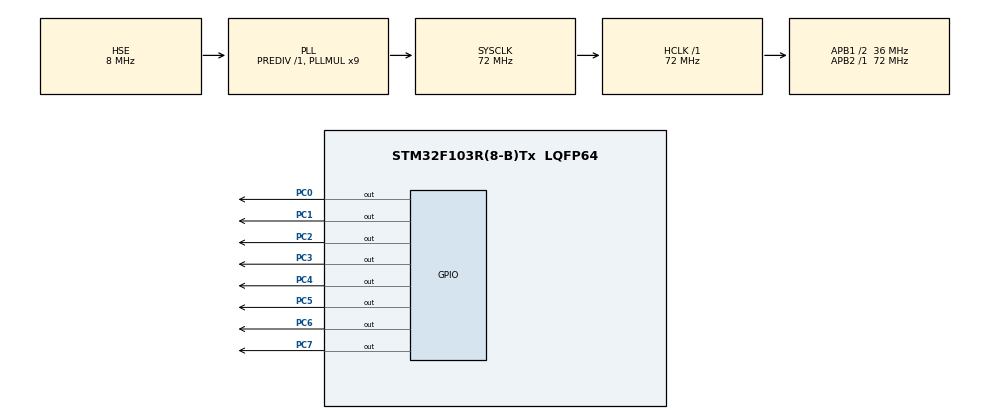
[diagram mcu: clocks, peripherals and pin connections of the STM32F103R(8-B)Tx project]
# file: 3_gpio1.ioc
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Mcu.Family=STM32F1
Mcu.Name=STM32F103R(8-B)Tx
Mcu.Package=LQFP64
NVIC.PriorityGroup=NVIC_PRIORITYGROUP_4
PA13.Mode=Serial_Wire
PA13.Signal=SYS_JTMS-SWDIO
PA14.Mode=Serial_Wire
PA14.Signal=SYS_JTCK-SWCLK
PC0.PinState=GPIO_PIN_SET
PC0.Signal=GPIO_Output
PC1.PinState=GPIO_PIN_SET
PC1.Signal=GPIO_Output
PC14-OSC32_IN.Mode=LSE-External-Oscillator
PC14-OSC32_IN.Signal=RCC_OSC32_IN
PC15-OSC32_OUT.Mode=LSE-External-Oscillator
PC15-OSC32_OUT.Signal=RCC_OSC32_OUT
PC2.PinState=GPIO_PIN_SET
PC2.Signal=GPIO_Output
PC3.PinState=GPIO_PIN_SET
PC3.Signal=GPIO_Output
PC4.PinState=GPIO_PIN_SET
PC4.Signal=GPIO_Output
PC5.PinState=GPIO_PIN_SET
PC5.Signal=GPIO_Output
PC6.PinState=GPIO_PIN_SET
PC6.Signal=GPIO_Output
PC7.PinState=GPIO_PIN_SET
PC7.Signal=GPIO_Output
PD0-OSC_IN.Mode=HSE-External-Oscillator
PD0-OSC_IN.Signal=RCC_OSC_IN
PD1-OSC_OUT.Mode=HSE-External-Oscillator
PD1-OSC_OUT.Signal=RCC_OSC_OUT
ProjectManager.HeapSize=0x200
ProjectManager.StackSize=0x400
ProjectManager.TargetToolchain=MDK-ARM V5
RCC.AHBFreq_Value=72000000
RCC.APB1CLKDivider=RCC_HCLK_DIV2
RCC.APB1Freq_Value=36000000
RCC.APB1TimFreq_Value=72000000
RCC.APB2Freq_Value=72000000
RCC.APB2TimFreq_Value=72000000
RCC.HCLKFreq_Value=72000000
RCC.PLLMUL=RCC_PLL_MUL9
RCC.PLLSourceVirtual=RCC_PLLSOURCE_HSE
RCC.SYSCLKFreq_VALUE=72000000
RCC.SYSCLKSource=RCC_SYSCLKSOURCE_PLLCLK
RCC.USBFreq_Value=72000000
board=custom

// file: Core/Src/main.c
/* USER CODE BEGIN Header */
/**
  ******************************************************************************
  * @file           : main.c
  * @brief          : Main program body
  ******************************************************************************
  * @attention
  *
  * <h2><center>&copy; Copyright (c) 2023 STMicroelectronics.
  * All rights reserved.</center></h2>
  *
  * This software component is licensed by ST under BSD 3-Clause license,
  * the "License"; You may not use this file except in compliance with the
  * License. You may obtain a copy of the License at:
  *                        opensource.org/licenses/BSD-3-Clause
  *
  ******************************************************************************
  */
/* USER CODE END Header */

#include "main.h"
#include "gpio.h"

/* USER CODE BEGIN PTD */
#define LED0_ON()  HAL_GPIO_WritePin (GPIOC ,GPIO_PIN_0 ,GPIO_PIN_RESET)
#define LED0_OFF() HAL_GPIO_WritePin (GPIOC ,GPIO_PIN_0 ,GPIO_PIN_SET)

#define LED1_ON()  HAL_GPIO_WritePin (GPIOC ,GPIO_PIN_1 ,GPIO_PIN_RESET)
#define LED1_OFF() HAL_GPIO_WritePin (GPIOC ,GPIO_PIN_1 ,GPIO_PIN_SET)

#define LED2_ON()  HAL_GPIO_WritePin (GPIOC ,GPIO_PIN_2 ,GPIO_PIN_RESET)
#define LED2_OFF() HAL_GPIO_WritePin (GPIOC ,GPIO_PIN_2 ,GPIO_PIN_SET)

#define LED3_ON()  HAL_GPIO_WritePin (GPIOC ,GPIO_PIN_3,GPIO_PIN_RESET)
#define LED3_OFF() HAL_GPIO_WritePin (GPIOC ,GPIO_PIN_3 ,GPIO_PIN_SET)

#define LED4_ON()  HAL_GPIO_WritePin (GPIOC ,GPIO_PIN_4 ,GPIO_PIN_RESET)
#define LED4_OFF() HAL_GPIO_WritePin (GPIOC ,GPIO_PIN_4 ,GPIO_PIN_SET)

#define LED5_ON()  HAL_GPIO_WritePin (GPIOC ,GPIO_PIN_5 ,GPIO_PIN_RESET)
#define LED5_OFF() HAL_GPIO_WritePin (GPIOC ,GPIO_PIN_5 ,GPIO_PIN_SET)

#define LED6_ON()  HAL_GPIO_WritePin (GPIOC ,GPIO_PIN_6 ,GPIO_PIN_RESET)
#define LED6_OFF() HAL_GPIO_WritePin (GPIOC ,GPIO_PIN_6 ,GPIO_PIN_SET)

#define LED7_ON()  HAL_GPIO_WritePin (GPIOC ,GPIO_PIN_7 ,GPIO_PIN_RESET)
#define LED7_OFF() HAL_GPIO_WritePin (GPIOC ,GPIO_PIN_7 ,GPIO_PIN_SET)

void PMD(){
			LED0_ON() ;
			HAL_Delay(500);
			LED0_OFF();

		    LED1_ON() ;
			HAL_Delay(500);
			LED1_OFF();

			LED2_ON() ;
			HAL_Delay(500);
			LED2_OFF();

			LED3_ON() ;
			HAL_Delay(500);
			LED3_OFF();

			LED4_ON() ;
			HAL_Delay(500);
			LED4_OFF();

			LED5_ON() ;
			HAL_Delay(500);
			LED5_OFF();

			LED6_ON() ;
			HAL_Delay(500);
			LED6_OFF();

			LED7_ON() ;
			HAL_Delay(500);
			LED7_OFF();}

void LSD(){
		LED0_ON() ;
		HAL_Delay(500);
		LED1_ON() ;
		HAL_Delay(500);
		LED2_ON() ;
		HAL_Delay(500);
		LED3_ON() ;
		HAL_Delay(500);
		LED4_ON() ;
		HAL_Delay(500);
		LED5_ON() ;
		HAL_Delay(500);
		LED6_ON() ;
		HAL_Delay(500);
		LED7_ON() ;
		HAL_Delay(500);
		LED0_OFF() ;
		LED1_OFF() ;
		LED2_OFF() ;
		LED3_OFF() ;
		LED4_OFF() ;
		LED5_OFF() ;
		LED6_OFF() ;
		LED7_OFF() ;
}

uint8_t Stateled=0;

void pmd(){
	Stateled++;
	if(Stateled==9){
		Stateled=1;
	}
	switch(Stateled){
	case 1:
	{
	HAL_GPIO_WritePin(GPIOC,GPIO_PIN_0,GPIO_PIN_RESET);
	HAL_GPIO_WritePin(GPIOC,GPIO_PIN_1|GPIO_PIN_2|GPIO_PIN_3|GPIO_PIN_4
	|GPIO_PIN_5|GPIO_PIN_6|GPIO_PIN_7, GPIO_PIN_SET);break;}
	case 2:
	{
	HAL_GPIO_WritePin(GPIOC,GPIO_PIN_1,GPIO_PIN_RESET);
	HAL_GPIO_WritePin(GPIOC,GPIO_PIN_0|GPIO_PIN_2|GPIO_PIN_3|GPIO_PIN_4
	|GPIO_PIN_5|GPIO_PIN_6|GPIO_PIN_7, GPIO_PIN_SET);break;}
	case 3:
	{
	HAL_GPIO_WritePin(GPIOC,GPIO_PIN_2,GPIO_PIN_RESET);
	HAL_GPIO_WritePin(GPIOC,GPIO_PIN_0|GPIO_PIN_1|GPIO_PIN_3|GPIO_PIN_4
	|GPIO_PIN_5|GPIO_PIN_6|GPIO_PIN_7, GPIO_PIN_SET);break;}
	case 4:
	{
	HAL_GPIO_WritePin(GPIOC,GPIO_PIN_3,GPIO_PIN_RESET);
	HAL_GPIO_WritePin(GPIOC,GPIO_PIN_0|GPIO_PIN_1|GPIO_PIN_2|GPIO_PIN_4
	|GPIO_PIN_5|GPIO_PIN_6|GPIO_PIN_7, GPIO_PIN_SET);break;}
	case 5:
	{
	HAL_GPIO_WritePin(GPIOC,GPIO_PIN_4,GPIO_PIN_RESET);
	HAL_GPIO_WritePin(GPIOC,GPIO_PIN_0|GPIO_PIN_1|GPIO_PIN_2|GPIO_PIN_3
	|GPIO_PIN_5|GPIO_PIN_6|GPIO_PIN_7, GPIO_PIN_SET);break;}
	case 6:
	{
	HAL_GPIO_WritePin(GPIOC,GPIO_PIN_5,GPIO_PIN_RESET);
	HAL_GPIO_WritePin(GPIOC,GPIO_PIN_0|GPIO_PIN_1|GPIO_PIN_2|GPIO_PIN_3
	|GPIO_PIN_4|GPIO_PIN_6|GPIO_PIN_7, GPIO_PIN_SET);break;}
	case 7:
	{
	HAL_GPIO_WritePin(GPIOC,GPIO_PIN_6,GPIO_PIN_RESET);
	HAL_GPIO_WritePin(GPIOC,GPIO_PIN_0|GPIO_PIN_1|GPIO_PIN_2|GPIO_PIN_3
	|GPIO_PIN_4 |GPIO_PIN_5|GPIO_PIN_7, GPIO_PIN_SET);break;}
	case 8:
	{
	HAL_GPIO_WritePin(GPIOC,GPIO_PIN_7,GPIO_PIN_RESET);
	HAL_GPIO_WritePin(GPIOC,GPIO_PIN_0|GPIO_PIN_1|GPIO_PIN_2|GPIO_PIN_3
	|GPIO_PIN_4|GPIO_PIN_5|GPIO_PIN_6,GPIO_PIN_SET);break;
	default:break;
	}
	}
	HAL_Delay(300);
    }
	/* USER CODE END PTD */

void SystemClock_Config(void);

int main(void)
{

  /* MCU Configuration--------------------------------------------------------*/

  /* Reset of all peripherals, Initializes the Flash interface and the Systick. */
  HAL_Init();

  /* Configure the system clock */
  SystemClock_Config();

  /* Initialize all configured peripherals */
  MX_GPIO_Init();

  /* Infinite loop */
  while (1)
  {

    /* USER CODE BEGIN 3 */

		LSD();
//		PMD();
//		pmd();
  }
  /* USER CODE END 3 */
}

void SystemClock_Config(void)
{
  RCC_OscInitTypeDef RCC_OscInitStruct = {0};
  RCC_ClkInitTypeDef RCC_ClkInitStruct = {0};

  /** Initializes the CPU, AHB and APB busses clocks
  */
  RCC_OscInitStruct.OscillatorType = RCC_OSCILLATORTYPE_HSE;
  RCC_OscInitStruct.HSEState = RCC_HSE_ON;
  RCC_OscInitStruct.HSEPredivValue = RCC_HSE_PREDIV_DIV1;
  RCC_OscInitStruct.HSIState = RCC_HSI_ON;
  RCC_OscInitStruct.PLL.PLLState = RCC_PLL_ON;
  RCC_OscInitStruct.PLL.PLLSource = RCC_PLLSOURCE_HSE;
  RCC_OscInitStruct.PLL.PLLMUL = RCC_PLL_MUL9;
  if (HAL_RCC_OscConfig(&RCC_OscInitStruct) != HAL_OK)
  {
    Error_Handler();
  }
  /** Initializes the CPU, AHB and APB busses clocks
  */
  RCC_ClkInitStruct.ClockType = RCC_CLOCKTYPE_HCLK|RCC_CLOCKTYPE_SYSCLK
                              |RCC_CLOCKTYPE_PCLK1|RCC_CLOCKTYPE_PCLK2;
  RCC_ClkInitStruct.SYSCLKSource = RCC_SYSCLKSOURCE_PLLCLK;
  RCC_ClkInitStruct.AHBCLKDivider = RCC_SYSCLK_DIV1;
  RCC_ClkInitStruct.APB1CLKDivider = RCC_HCLK_DIV2;
  RCC_ClkInitStruct.APB2CLKDivider = RCC_HCLK_DIV1;

  if (HAL_RCC_ClockConfig(&RCC_ClkInitStruct, FLASH_LATENCY_2) != HAL_OK)
  {
    Error_Handler();
  }
}

void Error_Handler(void)
{
}

/************************ (C) COPYRIGHT STMicroelectronics *****END OF FILE****/
